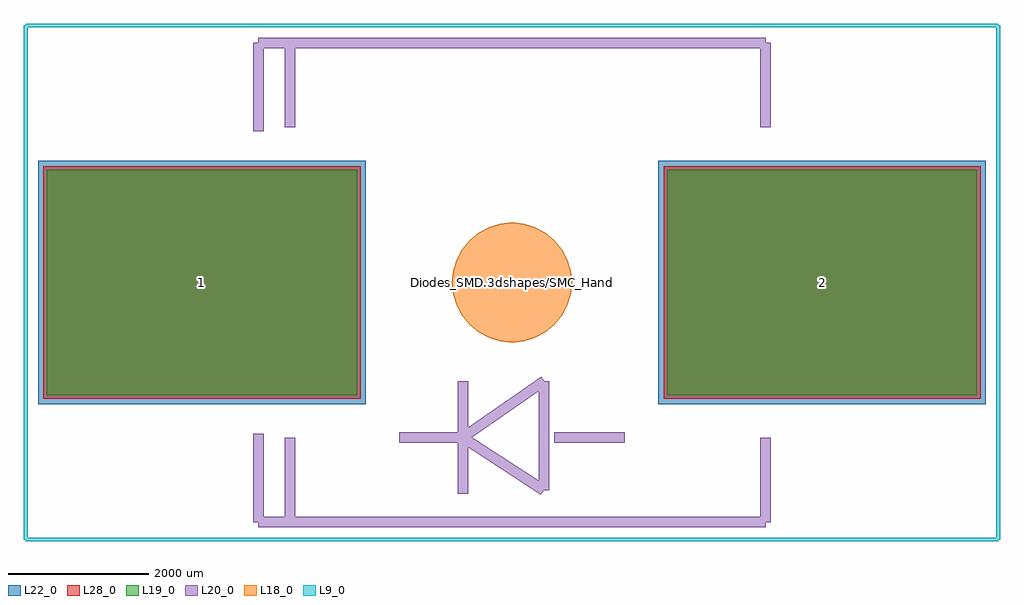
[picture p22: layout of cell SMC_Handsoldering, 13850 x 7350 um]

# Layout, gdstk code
import gdstk
lib = gdstk.Library(unit=1e-6, precision=1e-09)
def R(c, l, rs):  # rectangles x0, y0, x1, y1
    for r in rs: c.add(gdstk.rectangle(r[:2], r[2:], *l))
def P(c, l, *ps):  # polygons
    for p in ps: c.add(gdstk.Polygon(p, *l))
L9_0 = (9, 0)
L18_0 = (18, 0)
L19_0 = (19, 0)
L20_0 = (20, 0)
L22_0 = (22, 0)
L28_0 = (28, 0)

smc_handsoldering = lib.new_cell('SMC_Handsoldering')
P(smc_handsoldering, L18_0, [(158.236,0),(155.196,30.87),(146.191,60.554),(131.568,87.911),(111.89,111.89),(87.911,131.568),(60.554,146.191),(30.87,155.196),(0,158.236),(-30.87,155.196),(-60.554,146.191),(-87.911,131.568),(-111.89,111.89),(-131.568,87.911),(-146.191,60.554),(-155.196,30.87),(-158.236,0),(-155.196,-30.87),(-146.191,-60.554),(-131.568,-87.911),(-111.89,-111.89),(-87.911,-131.568),(-60.554,-146.191),(-30.87,-155.196),(0,-158.236),(30.87,-155.196),(60.554,-146.191),(87.911,-131.568),(111.89,-111.89),(131.568,-87.911),(146.191,-60.554),(155.196,-30.87)],
  [(502.952,0),(493.288,98.121),(464.667,192.471),(418.189,279.425),(355.641,355.641),(279.425,418.189),(192.471,464.667),(98.121,493.288),(0,502.952),(-98.121,493.288),(-192.471,464.667),(-279.425,418.189),(-355.641,355.641),(-418.189,279.425),(-464.667,192.471),(-493.288,98.121),(-502.952,0),(-493.288,-98.121),(-464.667,-192.471),(-418.189,-279.425),(-355.641,-355.641),(-279.425,-418.189),(-192.471,-464.667),(-98.121,-493.288),(0,-502.952),(98.121,-493.288),(192.471,-464.667),(279.425,-418.189),(355.641,-355.641),(418.189,-279.425),(464.667,-192.471),(493.288,-98.121)],
  [(852.415,0),(836.036,166.298),(787.529,326.205),(708.757,473.576),(602.748,602.748),(473.576,708.757),(326.205,787.529),(166.298,836.036),(0,852.415),(-166.298,836.036),(-326.205,787.529),(-473.576,708.757),(-602.748,602.748),(-708.757,473.576),(-787.529,326.205),(-836.036,166.298),(-852.415,0),(-836.036,-166.298),(-787.529,-326.205),(-708.757,-473.576),(-602.748,-602.748),(-473.576,-708.757),(-326.205,-787.529),(-166.298,-836.036),(0,-852.415),(166.298,-836.036),(326.205,-787.529),(473.576,-708.757),(602.748,-602.748),(708.757,-473.576),(787.529,-326.205),(836.036,-166.298)])
R(smc_handsoldering, L19_0, [(-6599.72,-1599.73,-2198.84,1599.73), (2200.11,-1599.73,6598.45,1599.73)])
R(smc_handsoldering, L22_0, [(-6724.72,-1724.73,-2073.84,1724.73), (2075.11,-1724.73,6723.45,1724.73)])
R(smc_handsoldering, L28_0, [(-6649.72,-1649.73,-2148.84,1649.73), (2150.11,-1649.73,6648.45,1649.73)])
smc_handsoldering.add(gdstk.FlexPath([(-3599.18,3401.06),(3599.18,3401.06)], 149.998, ends="flush", simple_path=True, layer=20, datatype=0))  # L20_0
smc_handsoldering.add(gdstk.FlexPath([(-3599.18,-3401.06),(3599.18,-3401.06)], 149.998, ends="flush", simple_path=True, layer=20, datatype=0))  # L20_0
smc_handsoldering.add(gdstk.FlexPath([(-695.96,-2199.64),(454.66,-1399.54)], 149.998, ends="flush", simple_path=True, layer=20, datatype=0))  # L20_0
smc_handsoldering.add(gdstk.FlexPath([(-698.5,-2199.64),(452.12,-2948.94)], 149.998, ends="flush", simple_path=True, layer=20, datatype=0))  # L20_0
smc_handsoldering.add(gdstk.FlexPath([(452.12,-2948.94),(452.12,-1399.54)], 149.998, ends="flush", simple_path=True, layer=20, datatype=0))  # L20_0
smc_handsoldering.add(gdstk.FlexPath([(-695.96,-1399.54),(-695.96,-2999.74)], 149.998, ends="flush", simple_path=True, layer=20, datatype=0))  # L20_0
smc_handsoldering.add(gdstk.FlexPath([(-3599.18,3401.06),(-3599.18,2148.84)], 149.998, ends="flush", simple_path=True, layer=20, datatype=0))  # L20_0
smc_handsoldering.add(gdstk.FlexPath([(-3599.18,-3401.06),(-3599.18,-2148.84)], 149.998, ends="flush", simple_path=True, layer=20, datatype=0))  # L20_0
smc_handsoldering.add(gdstk.FlexPath([(3599.18,3401.06),(3599.18,2199.64)], 149.998, ends="flush", simple_path=True, layer=20, datatype=0))  # L20_0
smc_handsoldering.add(gdstk.FlexPath([(3599.18,-3401.06),(3599.18,-2199.64)], 149.998, ends="flush", simple_path=True, layer=20, datatype=0))  # L20_0
smc_handsoldering.add(gdstk.FlexPath([(-3149.46,3401.06),(-3149.46,2199.64)], 149.998, ends="flush", simple_path=True, layer=20, datatype=0))  # L20_0
smc_handsoldering.add(gdstk.FlexPath([(-3149.46,-3401.06),(-3149.46,-2199.64)], 149.998, ends="flush", simple_path=True, layer=20, datatype=0))  # L20_0
smc_handsoldering.add(gdstk.FlexPath([(601.98,-2199.64),(1600.2,-2199.64)], 149.998, ends="flush", simple_path=True, layer=20, datatype=0))  # L20_0
smc_handsoldering.add(gdstk.FlexPath([(-695.96,-2199.64),(-1597.66,-2199.64)], 149.998, ends="flush", simple_path=True, layer=20, datatype=0))  # L20_0
smc_handsoldering.add(gdstk.FlexPath([(6900,3650),(6900,-3650)], 50, ends="flush", simple_path=True, layer=9, datatype=0))  # L9_0
smc_handsoldering.add(gdstk.FlexPath([(-6900,3650),(6900,3650)], 50, ends="flush", simple_path=True, layer=9, datatype=0))  # L9_0
smc_handsoldering.add(gdstk.FlexPath([(-6900,-3650),(-6900,3650)], 50, ends="flush", simple_path=True, layer=9, datatype=0))  # L9_0
smc_handsoldering.add(gdstk.FlexPath([(6900,-3650),(-6900,-3650)], 50, ends="flush", simple_path=True, layer=9, datatype=0))  # L9_0
smc_handsoldering.add(gdstk.Label('Diodes_SMD.3dshapes/SMC_Handsoldering.wrl', (0,0), layer=12, texttype=0))
smc_handsoldering.add(gdstk.Label('2', (4399.28,0), layer=28, texttype=0))
smc_handsoldering.add(gdstk.Label('1', (-4399.28,0), layer=28, texttype=0))
smc_handsoldering.add(gdstk.Label('type', (0,-5080), layer=9, texttype=0))
smc_handsoldering.add(gdstk.Label('devicename', (0,4500), layer=9, texttype=0))

lib.write_gds('SMC_Handsoldering.gds')
